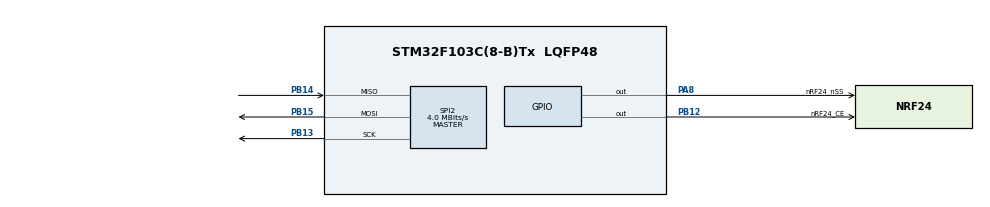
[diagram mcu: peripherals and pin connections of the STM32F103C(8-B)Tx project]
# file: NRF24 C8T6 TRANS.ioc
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Mcu.Family=STM32F1
Mcu.Name=STM32F103C(8-B)Tx
Mcu.Package=LQFP48
NVIC.PriorityGroup=NVIC_PRIORITYGROUP_4
PA13.Mode=Serial_Wire
PA13.Signal=SYS_JTMS-SWDIO
PA14.Mode=Serial_Wire
PA14.Signal=SYS_JTCK-SWCLK
PA8.GPIO_Label=nRF24_nSS
PA8.Signal=GPIO_Output
PB12.GPIO_Label=nRF24_CE
PB12.Signal=GPIO_Output
PB13.Mode=Full_Duplex_Master
PB13.Signal=SPI2_SCK
PB14.Mode=Full_Duplex_Master
PB14.Signal=SPI2_MISO
PB15.Mode=Full_Duplex_Master
PB15.Signal=SPI2_MOSI
ProjectManager.HeapSize=0x200
ProjectManager.StackSize=0x400
ProjectManager.TargetToolchain=MDK-ARM V5
RCC.APB1Freq_Value=8000000
RCC.APB2Freq_Value=8000000
SPI2.BaudRatePrescaler=SPI_BAUDRATEPRESCALER_2
SPI2.CalculateBaudRate=4.0 MBits/s
SPI2.Direction=SPI_DIRECTION_2LINES
SPI2.Mode=SPI_MODE_MASTER
SPI2.VirtualType=VM_MASTER
board=NRF24 C8T6 TRANS

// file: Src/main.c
/**
  ******************************************************************************
  * @file           : main.c
  * @brief          : Main program body
  ******************************************************************************
  ** This notice applies to any and all portions of this file
  * that are not between comment pairs USER CODE BEGIN and
  * USER CODE END. Other portions of this file, whether
  * inserted by the user or by software development tools
  * are owned by their respective copyright owners.
  *
  * COPYRIGHT(c) 2018 STMicroelectronics
  *
  * Redistribution and use in source and binary forms, with or without modification,
  * are permitted provided that the following conditions are met:
  *   1. Redistributions of source code must retain the above copyright notice,
  *      this list of conditions and the following disclaimer.
  *   2. Redistributions in binary form must reproduce the above copyright notice,
  *      this list of conditions and the following disclaimer in the documentation
  *      and/or other materials provided with the distribution.
  *   3. Neither the name of STMicroelectronics nor the names of its contributors
  *      may be used to endorse or promote products derived from this software
  *      without specific prior written permission.
  *
  * THIS SOFTWARE IS PROVIDED BY THE COPYRIGHT HOLDERS AND CONTRIBUTORS "AS IS"
  * AND ANY EXPRESS OR IMPLIED WARRANTIES, INCLUDING, BUT NOT LIMITED TO, THE
  * IMPLIED WARRANTIES OF MERCHANTABILITY AND FITNESS FOR A PARTICULAR PURPOSE ARE
  * DISCLAIMED. IN NO EVENT SHALL THE COPYRIGHT HOLDER OR CONTRIBUTORS BE LIABLE
  * FOR ANY DIRECT, INDIRECT, INCIDENTAL, SPECIAL, EXEMPLARY, OR CONSEQUENTIAL
  * DAMAGES (INCLUDING, BUT NOT LIMITED TO, PROCUREMENT OF SUBSTITUTE GOODS OR
  * SERVICES; LOSS OF USE, DATA, OR PROFITS; OR BUSINESS INTERRUPTION) HOWEVER
  * CAUSED AND ON ANY THEORY OF LIABILITY, WHETHER IN CONTRACT, STRICT LIABILITY,
  * OR TORT (INCLUDING NEGLIGENCE OR OTHERWISE) ARISING IN ANY WAY OUT OF THE USE
  * OF THIS SOFTWARE, EVEN IF ADVISED OF THE POSSIBILITY OF SUCH DAMAGE.
  *
  ******************************************************************************
  */
#include "main.h"
#include "stm32f1xx_hal.h"

/* USER CODE BEGIN Includes */
#include "nRF24L01P.h"
/* USER CODE END Includes */

SPI_HandleTypeDef hspi2;

/* USER CODE BEGIN PV */
/* Private variables ---------------------------------------------------------*/
nRF24L01P myNRF;
int check=0;
const uint8_t RXAddr[5] = {0xE7, 0xE7, 0xE7, 0xE7, 0xE7};
const uint8_t TXAddr[5] = {0xE7, 0xE7, 0xE7, 0xE7, 0xE7};
const uint8_t TXData[32] = "PICProje@Cemre.\nnRF24L01Library\n";

uint8_t RXBuffer[32], TXBuffer[32], regStatus, i;
/* USER CODE END PV */

void SystemClock_Config(void);
static void MX_GPIO_Init(void);
static void MX_SPI2_Init(void);

/* USER CODE BEGIN PFP */
/* Private function prototypes -----------------------------------------------*/

/* USER CODE END PFP */

int main(void)
{

  /* MCU Configuration----------------------------------------------------------*/

  /* Reset of all peripherals, Initializes the Flash interface and the Systick. */
  HAL_Init();

  /* Configure the system clock */
  SystemClock_Config();

  /* Initialize all configured peripherals */
  MX_GPIO_Init();
  MX_SPI2_Init();
  /* USER CODE BEGIN 2 */
  myNRF.hspi = &hspi2;														// You should make this definition at CubeMX
	myNRF.CRC_Width = nRF_CRC_WIDTH_BYTE;
	myNRF.ADDR_Width = nRF_ADDR_WIDTH_5;
	myNRF.Data_Rate = nRF_DATA_RATE_2MBPS;
	myNRF.TX_Power = nRF_TX_PWR_0dBm;
	myNRF.State = nRF_STATE_TX;

	myNRF.RF_Channel = 2;
	myNRF.PayloadWidth = nRF_RXPW_32BYTES;
	myNRF.RetransmitCount = nRF_RETX_COUNT_5;
	myNRF.RetransmitDelay = nRF_RETX_DELAY_1000uS;

	myNRF.RX_Address = (uint8_t *)RXAddr;
	myNRF.TX_Address = (uint8_t *)TXAddr;

	myNRF.RX_Buffer = RXBuffer;
	myNRF.TX_Buffer = TXBuffer;

	myNRF.nRF_nSS_GPIO_PORT = nRF24_nSS_GPIO_Port;	// You should make this definition at CubeMX
	myNRF.nRF_nSS_GPIO_PIN = nRF24_nSS_Pin;					// You should make this definition at CubeMX

	myNRF.nRF_CE_GPIO_PORT = nRF24_CE_GPIO_Port;		// You should make this definition at CubeMX
	myNRF.nRF_CE_GPIO_PIN = nRF24_CE_Pin;						// You should make this definition at CubeMX
	/* ---- myNRF24L01+ Definitions ---- */

	if(HAL_nRF24L01P_Init(&myNRF) != HAL_OK)
	{
		check=1;
		Error_Handler();

	} else {
		check=2;
	}
  /* USER CODE END 2 */

  /* Infinite loop */
  while (1)
  {

			if(HAL_nRF24L01P_TransmitPacket(&myNRF, (uint8_t *)TXData) != HAL_OK)
			{
				Error_Handler();
				check=3;
			}
			else
			{
				check =8;
			}

		HAL_Delay(250);
  }

}

void SystemClock_Config(void)
{

  RCC_OscInitTypeDef RCC_OscInitStruct;
  RCC_ClkInitTypeDef RCC_ClkInitStruct;

    /**Initializes the CPU, AHB and APB busses clocks
    */
  RCC_OscInitStruct.OscillatorType = RCC_OSCILLATORTYPE_HSI;
  RCC_OscInitStruct.HSIState = RCC_HSI_ON;
  RCC_OscInitStruct.HSICalibrationValue = 16;
  RCC_OscInitStruct.PLL.PLLState = RCC_PLL_NONE;
  if (HAL_RCC_OscConfig(&RCC_OscInitStruct) != HAL_OK)
  {
    _Error_Handler(__FILE__, __LINE__);
  }

    /**Initializes the CPU, AHB and APB busses clocks
    */
  RCC_ClkInitStruct.ClockType = RCC_CLOCKTYPE_HCLK|RCC_CLOCKTYPE_SYSCLK
                              |RCC_CLOCKTYPE_PCLK1|RCC_CLOCKTYPE_PCLK2;
  RCC_ClkInitStruct.SYSCLKSource = RCC_SYSCLKSOURCE_HSI;
  RCC_ClkInitStruct.AHBCLKDivider = RCC_SYSCLK_DIV1;
  RCC_ClkInitStruct.APB1CLKDivider = RCC_HCLK_DIV1;
  RCC_ClkInitStruct.APB2CLKDivider = RCC_HCLK_DIV1;

  if (HAL_RCC_ClockConfig(&RCC_ClkInitStruct, FLASH_LATENCY_0) != HAL_OK)
  {
    _Error_Handler(__FILE__, __LINE__);
  }

    /**Configure the Systick interrupt time
    */
  HAL_SYSTICK_Config(HAL_RCC_GetHCLKFreq()/1000);

    /**Configure the Systick
    */
  HAL_SYSTICK_CLKSourceConfig(SYSTICK_CLKSOURCE_HCLK);

  /* SysTick_IRQn interrupt configuration */
  HAL_NVIC_SetPriority(SysTick_IRQn, 0, 0);
}

/* SPI2 init function */
static void MX_SPI2_Init(void)
{

  /* SPI2 parameter configuration*/
  hspi2.Instance = SPI2;
  hspi2.Init.Mode = SPI_MODE_MASTER;
  hspi2.Init.Direction = SPI_DIRECTION_2LINES;
  hspi2.Init.DataSize = SPI_DATASIZE_8BIT;
  hspi2.Init.CLKPolarity = SPI_POLARITY_LOW;
  hspi2.Init.CLKPhase = SPI_PHASE_1EDGE;
  hspi2.Init.NSS = SPI_NSS_SOFT;
  hspi2.Init.BaudRatePrescaler = SPI_BAUDRATEPRESCALER_2;
  hspi2.Init.FirstBit = SPI_FIRSTBIT_MSB;
  hspi2.Init.TIMode = SPI_TIMODE_DISABLE;
  hspi2.Init.CRCCalculation = SPI_CRCCALCULATION_DISABLE;
  hspi2.Init.CRCPolynomial = 10;
  if (HAL_SPI_Init(&hspi2) != HAL_OK)
  {
    _Error_Handler(__FILE__, __LINE__);
  }

}

/** Configure pins as
        * Analog
        * Input
        * Output
        * EVENT_OUT
        * EXTI
*/
static void MX_GPIO_Init(void)
{

  GPIO_InitTypeDef GPIO_InitStruct;

  /* GPIO Ports Clock Enable */
  __HAL_RCC_GPIOB_CLK_ENABLE();
  __HAL_RCC_GPIOA_CLK_ENABLE();

  /*Configure GPIO pin Output Level */
  HAL_GPIO_WritePin(nRF24_CE_GPIO_Port, nRF24_CE_Pin, GPIO_PIN_RESET);

  /*Configure GPIO pin Output Level */
  HAL_GPIO_WritePin(nRF24_nSS_GPIO_Port, nRF24_nSS_Pin, GPIO_PIN_RESET);

  /*Configure GPIO pin : nRF24_CE_Pin */
  GPIO_InitStruct.Pin = nRF24_CE_Pin;
  GPIO_InitStruct.Mode = GPIO_MODE_OUTPUT_PP;
  GPIO_InitStruct.Speed = GPIO_SPEED_FREQ_LOW;
  HAL_GPIO_Init(nRF24_CE_GPIO_Port, &GPIO_InitStruct);

  /*Configure GPIO pin : nRF24_nSS_Pin */
  GPIO_InitStruct.Pin = nRF24_nSS_Pin;
  GPIO_InitStruct.Mode = GPIO_MODE_OUTPUT_PP;
  GPIO_InitStruct.Speed = GPIO_SPEED_FREQ_LOW;
  HAL_GPIO_Init(nRF24_nSS_GPIO_Port, &GPIO_InitStruct);

}

void _Error_Handler(char *file, int line)
{
  while(1)
  {
  }
}

/************************ (C) COPYRIGHT STMicroelectronics *****END OF FILE****/
